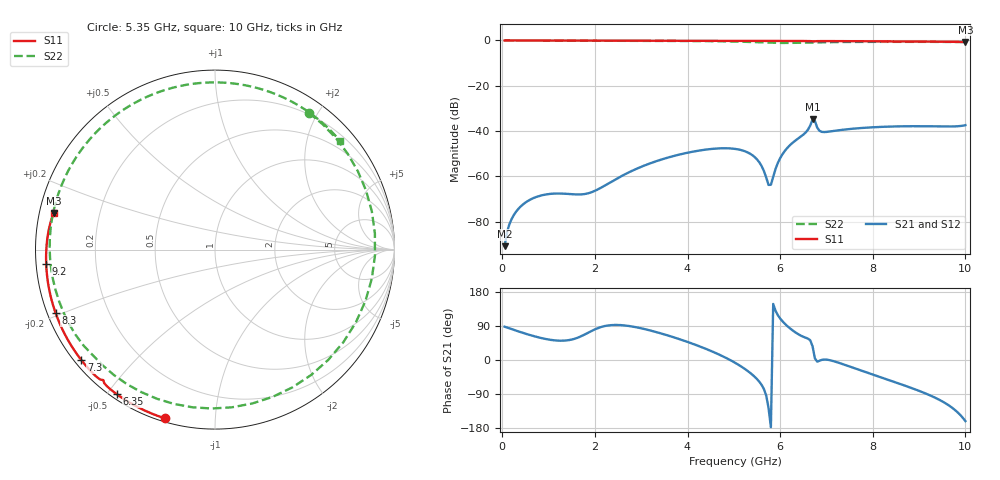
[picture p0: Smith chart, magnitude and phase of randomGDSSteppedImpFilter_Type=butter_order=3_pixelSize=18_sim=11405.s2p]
! freq	dB(S11)	phase(S11)	dB(S12)	phase(S12)
!  dB(S21)	phase(S21)	dB(S22)	phase(S22)
!S-par simulation data
#  GHz  S  DB  R 50
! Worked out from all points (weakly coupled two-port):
!   200 points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, 50 MHz to 10 GHz, reference 50 ohm
!   highest |S21| = -34.91 dB at 6.7 GHz (marker M1); lowest = -90.9 dB at 50 MHz (marker M2)
!   lowest |S11| = -0.7 dB at 10 GHz (marker M3), VSWR 24.63, Z = 2.06 + j5.58 ohm
!   |S11| at or under -10 dB: nowhere
!   |S22| runs from -1.1 to 0.0 dB; largest |S21 - S12| = 0
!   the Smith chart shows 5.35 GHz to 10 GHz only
!   S11 on the Smith chart (normalised r, x): 5.35 GHz: 0.02, -0.75; 6.35 GHz: 0.02, -0.53; 7.3 GHz: 0.02, -0.36; 8.3 GHz: 0.02, -0.19; 9.2 GHz: 0.03, -0.04; 10 GHz: 0.04, +0.11
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0.05  -0.00 -1.1  -90.90 87.9  -90.90 87.9  -0.00 -3.2
0.55  -0.02 -11.9  -70.96 67.6  -70.96 67.6  -0.05 -34.7
0.95  -0.03 -20.4  -68.02 55.1  -68.02 55.1  -0.07 -58.7
1.75  -0.05 -37.2  -67.94 65.5  -67.94 65.5  -0.11 -101.6
2.6  -0.07 -54.6  -59.65 91.7  -59.65 91.7  -0.15 -140.9
3.4  -0.09 -70.3  -52.85 71.1  -52.85 71.1  -0.18 -175.6
4.3  -0.12 -87.3  -48.50 34.1  -48.50 34.1  -0.28 140.9
5.05  -0.15 -101.1  -47.98 -9.0  -47.98 -9.0  -0.50 87.7
5.35  -0.17 -106.4  -50.03 -33.8  -50.03 -33.8  -0.68 55.6
5.6  -0.18 -110.9  -55.51 -65.7  -55.51 -65.7  -0.88 21.4
5.75  -0.19 -113.6  -63.86 -127.0  -63.86 -127.0  -0.99 -2.2
5.8  -0.19 -114.4  -63.76 -177.4  -63.76 -177.4  -1.03 -10.5
6  -0.21 -118.0  -52.01 109.5  -52.01 109.5  -1.10 -44.2
6.35  -0.23 -124.2  -43.90 71.2  -43.90 71.2  -1.04 -98.2
6.6  -0.27 -128.8  -39.46 56.4  -39.46 56.4  -0.94 -128.8
6.7  -0.38 -130.5  -34.91 36.1  -34.91 36.1  -0.92 -139.0
6.9  -0.28 -133.3  -40.39 0.4  -40.39 0.4  -0.78 -157.6
7.3  -0.30 -140.5  -39.59 -8.7  -39.59 -8.7  -0.69 172.8
8.3  -0.39 -158.3  -38.10 -51.0  -38.10 -51.0  -0.61 118.7
8.35  -0.40 -159.2  -38.07 -53.1  -38.07 -53.1  -0.61 116.4
9.2  -0.50 -175.3  -37.92 -91.4  -37.92 -91.4  -0.62 77.4
10  -0.71 167.2  -37.43 -161.2  -37.43 -161.2  -0.70 41.1
